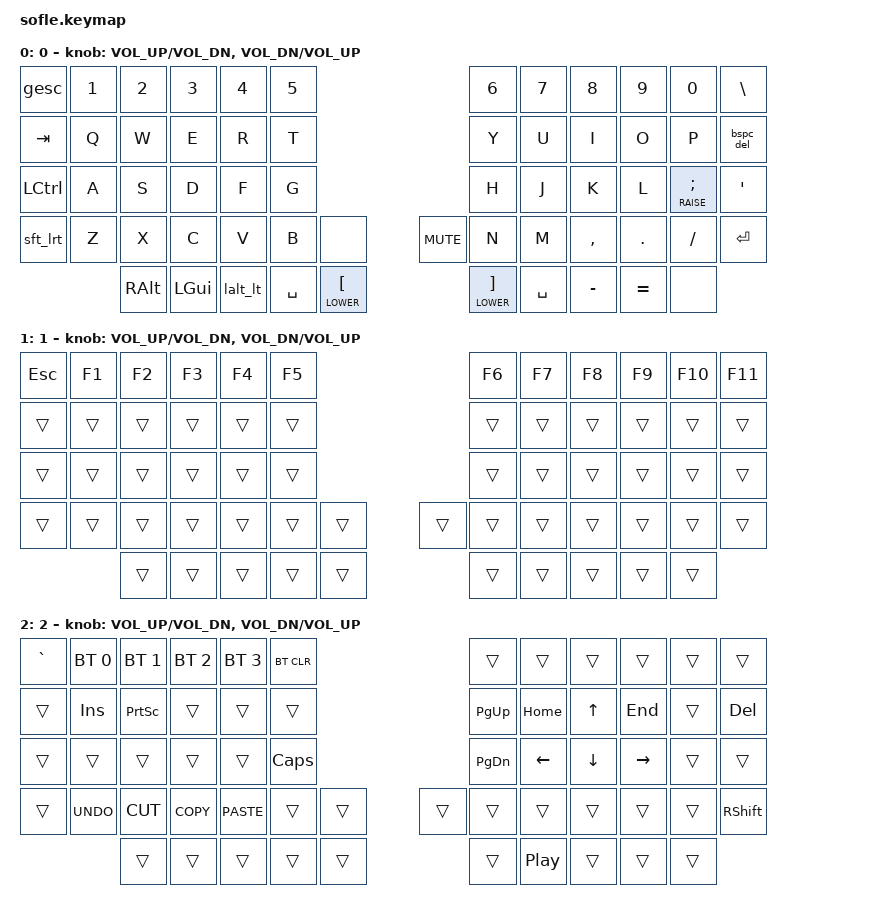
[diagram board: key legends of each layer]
/*
 * Copyright (c) 2020 The ZMK Contributors
 *
 * SPDX-License-Identifier: MIT
 */

#include <behaviors.dtsi>
#include <dt-bindings/zmk/keys.h>
#include <dt-bindings/zmk/bt.h>
#include <dt-bindings/zmk/ext_power.h>

#define DEFAULT 0
#define LOWER   1
#define RAISE   2

/ {
    keymap {
        compatible = "zmk,keymap";

        0 {
// ---------------------------------------------------------------------------------------------------------------
// | gesc  |  1  |  2  |  3   |  4   |  5   |                   |  6   |  7    |  8    |  9   |   0   |          |
// | TAB   |  Q  |  W  |  E   |  R   |  T   |                   |  Y   |  U    |  I    |  O   |   P   | bspc_del |
// | CAPS  |  A  |  S  |  D   |  F   |  G   |                   |  H   |  J    |  K    |  L   |   ;   |    '     |
// | SHIFT |  Z  |  X  |  C   |  V   |  B   |  MUTE  |  |       |  N   |  M    |  ,    |  .   |   /   |   SHIFT  |
//               | CTRL|  GUI | ALT  | SPACE|  LOWER |  | LOWER | SPACE| MINUS | EQUAL | NONE |
            bindings = <
&gesc     &kp N1   &kp N2   &kp N3   &kp N4    &kp N5                                 &kp N6 &kp N7 &kp N8    &kp N9   &kp N0         &kp BSLH
&kp TAB   &kp Q    &kp W    &kp E    &kp R     &kp T                                  &kp Y  &kp U  &kp I     &kp O    &kp P          &bspc_del
&kp LCTRL &kp A    &kp S    &kp D    &kp F     &kp G                                  &kp H  &kp J  &kp K     &kp L    &lt RAISE SEMI &kp SQT
&sft_lrt  &kp Z    &kp X    &kp C    &kp V     &kp B  &none               &kp C_MUTE  &kp N  &kp M  &kp COMMA &kp DOT  &kp FSLH       &kp RET
                   &kp RALT &kp LGUI &lalt_lt  &kp SPACE &lt LOWER LBKT   &lt LOWER RBKT &kp SPACE &kp MINUS &kp EQUAL &none
            >;

            sensor-bindings = <&inc_dec_kp C_VOL_UP C_VOL_DN &inc_dec_kp C_VOL_DN C_VOL_UP>;
        };

        1 {
// TODO: Some binds are waiting for shifted keycode support.
// ------------------------------------------------------------------------------------------------------------
// |  ESC |  F1 |  F2 |  F3  |  F4  |  F5  |                   |  F6  |  F7   |  F8   |  F9  |  F10  |  F11  |
// |      |     |     |      |      |      |                   |      |       |       |      |       |       |
// |      |     |     |      |      |      |                   |      |       |       |      |       |       |
// |      |     |     |      |      |      |        |  |       |      |       |       |      |       |       |
//              |     |      |      |      |        |  |       |      |       |       |      |
            bindings = <
&kp ESC  &kp F1    &kp F2    &kp F3      &kp F4    &kp F5                     &kp F6    &kp F7   &kp F8    &kp F9    &kp F10   &kp F11
&trans   &trans    &trans    &trans      &trans    &trans                     &trans    &trans   &trans    &trans    &trans    &trans
&trans   &trans    &trans    &trans      &trans    &trans                     &trans    &trans   &trans    &trans    &trans    &trans
&trans   &trans    &trans    &trans      &trans    &trans  &trans     &trans  &trans    &trans   &trans    &trans    &trans    &trans
                   &trans    &trans      &trans    &trans  &trans     &trans  &trans    &trans   &trans    &trans
            >;

            sensor-bindings = <&inc_dec_kp C_VOL_UP C_VOL_DN &inc_dec_kp C_VOL_DN C_VOL_UP>;
        };

        2 {
// ------------------------------------------------------------------------------------------------------------
// |  `  | BT1  | BT2  |  BT3  |  BT4  |BTCLR |                |      |      |       |      |       |       |
// |     | INS  | PSCR | GUI   |       |      |                | PGUP |      |   ^   |      |       |       |
// |     | ALT  | CTRL | SHIFT |       | CAPS |                | PGDN |   <- |   v   |  ->  |       |       |
// |     | UNDO | CUT  | COPY  | PASTE |      |      |  |      |      |      |       |      |       |       |
//              |      |       |       |      |      |  |      |      | Play |       |      |
            bindings = <
&kp GRAVE  &bt BT_SEL 0 &bt BT_SEL 1 &bt BT_SEL 2 &bt BT_SEL 3 &bt BT_CLR               &trans    &trans    &trans   &trans    &trans  &trans
&trans     &kp INS      &kp PSCRN    &trans       &trans       &trans                   &kp PG_UP &kp HOME  &kp UP   &kp END   &trans  &kp DELETE
&trans     &trans       &trans       &trans       &trans       &kp CLCK                 &kp PG_DN &kp LEFT  &kp DOWN &kp RIGHT &trans  &trans
&trans     &kp K_UNDO   &kp K_CUT    &kp K_COPY   &kp K_PASTE  &trans  &trans   &trans  &trans    &trans    &trans   &trans    &trans  &kp RSHFT
                        &trans       &trans       &trans       &trans  &trans   &trans  &kp C_PP  &trans    &trans   &trans
            >;

            sensor-bindings = <&inc_dec_kp C_VOL_UP C_VOL_DN &inc_dec_kp C_VOL_DN C_VOL_UP>;
        };
    };
    
    behaviors {
        gesc: grave_escape {
            compatible = "zmk,behavior-mod-morph";
            label = "GRAVE_ESCAPE";
            #binding-cells = <0>;
            bindings = <&kp ESC>, <&kp TILDE>;
            mods = <(MOD_LSFT)>;
        };
        bspc_del: backspace_delete {
            compatible = "zmk,behavior-mod-morph";
            label = "BACKSPACE_DELETE";
            #binding-cells = <0>;
            bindings = <&kp BACKSPACE>, <&kp DELETE>;
            mods = <(MOD_LSFT|MOD_LCTL)>;
            keep-mods = <(MOD_LCTL)>;
        };
        sft_lrt: shift_lr_toggle {
            compatible = "zmk,behavior-mod-morph";
            label = "SHIFT_TOGGLE";
            #binding-cells = <0>;
            bindings = <&kp LSHFT>, <&kp RSHFT>;
            mods = <(MOD_LCTL)>;
            keep-mods = <(MOD_LCTL)>;
        };
    };

    macros {
        lalt_lt: alt_layer_toggle {
            compatible = "zmk,behavior-macro";
            label = "ALT_LAYER_TOGGLE";
            #binding-cells = <0>;
            wait-ms = <0>;
            bindings = <&macro_press &mo LOWER &kp LALT>
                , <&macro_pause_for_release>
                , <&macro_release &mo LOWER &kp LALT>;
        };
    };
};
